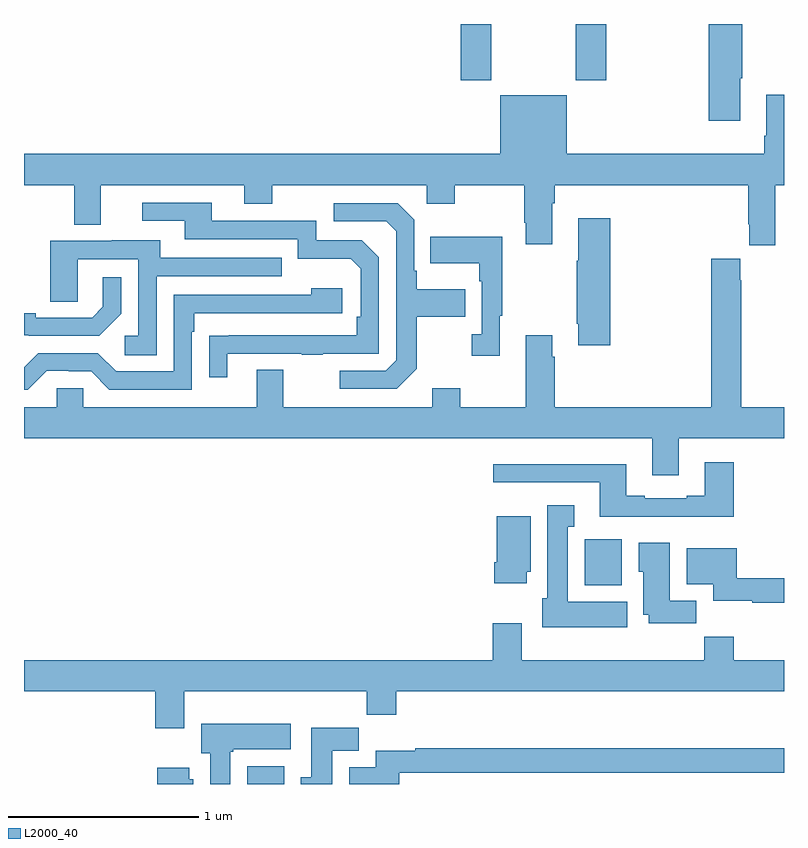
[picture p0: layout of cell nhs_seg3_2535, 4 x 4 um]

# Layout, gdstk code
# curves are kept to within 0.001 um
import gdstk
lib = gdstk.Library(unit=1e-6, precision=1e-09)
def R(c, l, rs):  # rectangles x0, y0, x1, y1
    for r in rs: c.add(gdstk.rectangle(r[:2], r[2:], *l))
def P(c, l, *ps):  # polygons
    for p in ps: c.add(gdstk.Polygon(p, *l))
L2000_40 = (2000, 40)

nhs_seg3_2535 = lib.new_cell('nhs_seg3_2535')
R(nhs_seg3_2535, L2000_40, [(242.174,728.4,242.371,728.494), (243.95,729.446,244.147,729.688), (243.299,732.105,243.459,732.4), (243.904,732.105,244.064,732.4)])
P(nhs_seg3_2535, L2000_40, [(244.771,732.115),(244.779,732.115),(244.779,732.4),(244.604,732.4),(244.604,731.892),(244.771,731.892)],
  [(244.954,731.552),(245,731.552),(245,732.028),(244.907,732.028),(244.907,731.812),(244.895,731.812),(244.895,731.716),(243.856,731.716),(243.856,732.025),(243.506,732.025),(243.506,731.716),(241,731.716),(241,731.552),(241.265,731.552),(241.265,731.344),(241.405,731.344),(241.405,731.552),(242.159,731.552),(242.159,731.453),(242.307,731.453),(242.307,731.552),(243.12,731.552),(243.12,731.453),(243.267,731.453),(243.267,731.552),(243.634,731.552),(243.634,731.353),(243.641,731.353),(243.641,731.241),(243.781,731.241),(243.781,731.456),(243.794,731.456),(243.794,731.552),(244.811,731.552),(244.811,731.347),(244.817,731.347),(244.817,731.235),(244.954,731.235)],
  [(242.071,730.665),(242.461,730.665),(242.461,730.66),(242.573,730.66),(242.573,730.665),(242.868,730.665),(242.868,731.172),(242.778,731.262),(242.538,731.262),(242.538,731.364),(241.987,731.364),(241.987,731.46),(241.623,731.46),(241.623,731.364),(241.847,731.364),(241.847,731.268),(242.442,731.268),(242.442,731.165),(242.719,731.165),(242.772,731.112),(242.772,730.858),(242.752,730.858),(242.752,730.761),(241.975,730.76),(241.975,730.542),(242.071,730.542)],
  [(243.067,730.585),(243.067,730.858),(243.323,730.858),(243.323,731.005),(243.067,731.005),(243.067,731.101),(243.054,731.101),(243.054,731.37),(242.967,731.457),(242.631,731.457),(242.631,731.361),(242.907,731.361),(242.958,731.31),(242.958,730.629),(242.904,730.575),(242.661,730.575),(242.661,730.479),(242.961,730.479)],
  [(244.085,731.377),(243.917,731.377),(243.917,731.153),(243.91,731.153),(243.91,730.822),(243.917,730.822),(243.917,730.71),(244.085,730.71)],
  [(243.505,730.865),(243.517,730.865),(243.517,731.281),(243.139,731.281),(243.139,731.141),(243.396,731.141),(243.396,731.045),(243.408,731.045),(243.408,730.766),(243.357,730.766),(243.357,730.653),(243.505,730.653)],
  [(241.698,731.073),(242.357,731.073),(242.357,731.169),(241.717,731.169),(241.717,731.263),(241.463,731.263),(241.463,731.259),(241.139,731.259),(241.139,730.939),(241.284,730.939),(241.284,731.163),(241.602,731.163),(241.602,730.758),(241.53,730.758),(241.53,730.657),(241.698,730.657)],
  [(244.447,730.22),(245,730.22),(245,730.384),(244.776,730.384),(244.776,731.051),(244.771,731.051),(244.771,731.164),(244.616,731.164),(244.616,730.384),(243.794,730.384),(243.794,730.649),(243.781,730.649),(243.781,730.762),(243.641,730.762),(243.641,730.384),(243.297,730.384),(243.297,730.483),(243.149,730.483),(243.149,730.384),(242.365,730.384),(242.365,730.579),(242.225,730.579),(242.225,730.384),(241.311,730.384),(241.311,730.482),(241.173,730.482),(241.173,730.384),(241,730.384),(241,730.22),(244.307,730.22),(244.307,730.026),(244.447,730.026)],
  [(241.512,730.874),(241.512,731.068),(241.415,731.068),(241.415,730.911),(241.358,730.854),(241.063,730.854),(241.063,730.877),(241,730.877),(241,730.761),(241.024,730.761),(241.024,730.758),(241.396,730.758)],
  [(241.119,730.575),(241.235,730.575),(241.235,730.572),(241.353,730.572),(241.449,730.476),(241.884,730.476),(241.884,730.781),(241.897,730.781),(241.897,730.878),(242.674,730.878),(242.674,731.008),(242.513,731.008),(242.513,730.974),(241.788,730.974),(241.788,730.572),(241.485,730.572),(241.389,730.668),(241.074,730.668),(241,730.594),(241,730.475),(241.019,730.475)],
  [(244.736,730.093),(244.583,730.093),(244.583,729.916),(244.487,729.916),(244.487,729.903),(244.267,729.903),(244.267,729.916),(244.171,729.916),(244.171,730.084),(243.471,730.084),(243.471,729.987),(244.031,729.987),(244.031,729.806),(244.736,729.806)],
  [(244.174,729.358),(243.862,729.358),(243.862,729.755),(243.895,729.755),(243.895,729.868),(243.755,729.868),(243.755,729.378),(243.728,729.378),(243.728,729.224),(244.174,729.224)],
  [(243.646,729.516),(243.667,729.516),(243.667,729.808),(243.488,729.808),(243.488,729.568),(243.476,729.568),(243.476,729.456),(243.646,729.456)],
  [(244.538,729.364),(244.399,729.364),(244.399,729.67),(244.235,729.67),(244.235,729.516),(244.259,729.516),(244.259,729.29),(244.289,729.29),(244.289,729.246),(244.538,729.246)],
  [(245,729.482),(244.751,729.482),(244.751,729.64),(244.487,729.64),(244.487,729.452),(244.628,729.452),(244.628,729.365),(244.834,729.365),(244.834,729.354),(245,729.354)],
  [(241.843,728.888),(242.803,728.888),(242.803,728.764),(242.96,728.764),(242.96,728.888),(245,728.888),(245,729.052),(244.736,729.052),(244.736,729.176),(244.579,729.176),(244.579,729.052),(243.619,729.052),(243.619,729.247),(243.467,729.247),(243.467,729.052),(241,729.052),(241,728.888),(241.691,728.888),(241.691,728.694),(241.843,728.694)],
  [(242.086,728.569),(242.1,728.569),(242.1,728.582),(242.404,728.582),(242.404,728.716),(241.934,728.716),(241.934,728.562),(241.979,728.562),(241.979,728.4),(242.086,728.4)],
  [(242.623,728.576),(242.762,728.576),(242.762,728.695),(242.513,728.695),(242.513,728.436),(242.456,728.436),(242.456,728.4),(242.623,728.4)],
  [(242.975,728.458),(245,728.458),(245,728.587),(243.058,728.587),(243.058,728.576),(242.852,728.576),(242.852,728.488),(242.711,728.488),(242.711,728.4),(242.975,728.4)],
  [(241.891,728.424),(241.87,728.424),(241.87,728.485),(241.7,728.485),(241.7,728.4),(241.891,728.4)])

lib.write_gds('nhs_seg3_2535.gds')
